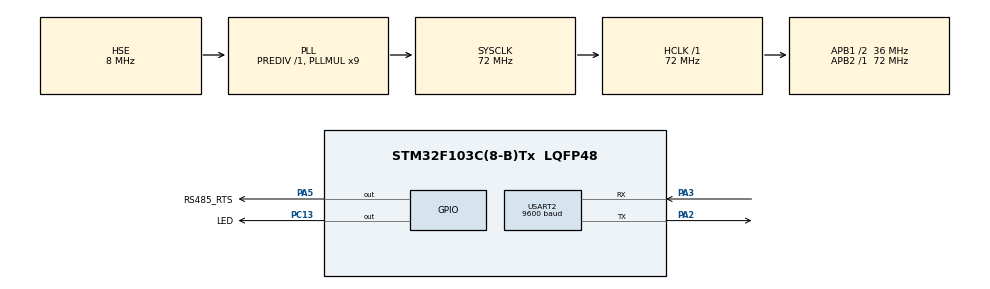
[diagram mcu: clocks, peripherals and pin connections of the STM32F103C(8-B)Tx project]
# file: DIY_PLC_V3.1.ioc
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Mcu.Family=STM32F1
RCC.PLLSourceVirtual=RCC_PLLSOURCE_HSE
PD1-OSC_OUT.Mode=HSE-External-Oscillator
PC13-TAMPER-RTC.Signal=GPIO_Output
PD0-OSC_IN.Signal=RCC_OSC_IN
RCC.APB1CLKDivider=RCC_HCLK_DIV2
NVIC.USART2_IRQn=true\:0\:0\:false\:false\:true\:true\:true
USART2.BaudRate=9600
RCC.SYSCLKSource=RCC_SYSCLKSOURCE_PLLCLK
ProjectManager.StackSize=0x400
PD1-OSC_OUT.Signal=RCC_OSC_OUT
PA13.Signal=SYS_JTMS-SWDIO
PA3.Mode=Asynchronous
ProjectManager.TargetToolchain=STM32CubeIDE
RCC.HCLKFreq_Value=72000000
RCC.APB2TimFreq_Value=72000000
TIM3.Period=49
RCC.USBFreq_Value=72000000
RCC.AHBFreq_Value=72000000
PD0-OSC_IN.Mode=HSE-External-Oscillator
PA5.Signal=GPIO_Output
board=custom
PC13-TAMPER-RTC.GPIO_Label=LED
RCC.PLLMUL=RCC_PLL_MUL9
NVIC.TIM3_IRQn=true\:0\:0\:false\:false\:true\:true\:true
RCC.APB2Freq_Value=72000000
PA14.Mode=Serial_Wire
TIM3.Prescaler=71
PA13.Mode=Serial_Wire
Mcu.Name=STM32F103C(8-B)Tx
PA2.Signal=USART2_TX
RCC.SYSCLKFreq_VALUE=72000000
Mcu.Package=LQFP48
PA5.GPIO_Label=RS485_RTS
USART2.VirtualMode=VM_ASYNC
PA14.Signal=SYS_JTCK-SWCLK
ProjectManager.HeapSize=0x200
NVIC.PriorityGroup=NVIC_PRIORITYGROUP_4
RCC.APB1TimFreq_Value=72000000
PA2.Mode=Asynchronous
RCC.APB1Freq_Value=36000000
VP_TIM3_VS_ClockSourceINT.Mode=Internal
PA3.Signal=USART2_RX

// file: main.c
/* USER CODE BEGIN Header */
/**
 ******************************************************************************
 * @file           : main.c
 * @brief          : Main program body
 ******************************************************************************
 * @attention
 *
 * <h2><center>&copy; Copyright (c) 2023 STMicroelectronics.
 * All rights reserved.</center></h2>
 *
 * This software component is licensed by ST under BSD 3-Clause license,
 * the "License"; You may not use this file except in compliance with the
 * License. You may obtain a copy of the License at:
 *                        opensource.org/licenses/BSD-3-Clause
 *
 ******************************************************************************
 */
/* USER CODE END Header */
#include "main.h"

/* USER CODE BEGIN Includes */
#include <stdint.h>
#include <stdbool.h>
#include <iso646.h>

#include "mb.h" //MODBUS RTU SLAVE
#include "GlobalVar.h"
#include "FbTs.h"
#include "FbBlink.h"
#include "FbFilterA.h"
/* USER CODE END Includes */

/* USER CODE BEGIN PD */
#define SetBit(Var,Bit)   ( Var = Var |  (1 << (Bit)) )
#define ResetBit(Var,Bit) ( Var = Var & ~(1 << (Bit)) )

#define USER_LED_ON() HAL_GPIO_WritePin(GPIOC, GPIO_PIN_13, GPIO_PIN_RESET)
#define USER_LED_OFF() HAL_GPIO_WritePin(GPIOC, GPIO_PIN_13, GPIO_PIN_SET)
//#define USER_BUTTON_STATE() (HAL_GPIO_ReadPin(GPIOA, GPIO_PIN_0) != GPIO_PIN_SET)

#define millis() HAL_GetTick() //Arduino function.
#define Reboot_CPU() HAL_NVIC_SystemReset()

#define MODBUS_RTU_SLAVE_ADDRESS 1
#define MW usSRegHoldBuf //MODBUS HOLDING REGISTERS
/* USER CODE END PD */

TIM_HandleTypeDef htim3;

UART_HandleTypeDef huart2;

/* USER CODE BEGIN PV */
static struct GlobalVar GV = { 0 };
static struct DbTs DbTs1 = { 0 };
extern USHORT usSRegHoldBuf[]; //MODBUS RTU SLAVE HOLDING REGISTERS
static struct DbBlink DbBlink1 = { 0 };
static struct DbFilterA DbFilterA1 = { 0 };
/* USER CODE END PV */

void SystemClock_Config(void);
static void MX_GPIO_Init(void);
static void MX_TIM3_Init(void);
static void MX_USART2_UART_Init(void);

/* USER CODE BEGIN 0 */
void setup(void);
void loop(void);
void FcTaskCyclic(bool Reset, uint32_t Ts_ms);
/* USER CODE END 0 */

int main(void) {

	/* MCU Configuration--------------------------------------------------------*/

	/* Reset of all peripherals, Initializes the Flash interface and the Systick. */
	HAL_Init();

	/* Configure the system clock */
	SystemClock_Config();

	/* Initialize all configured peripherals */
	MX_GPIO_Init();
	MX_TIM3_Init();
	MX_USART2_UART_Init();

	/* Infinite loop */
	/* USER CODE BEGIN WHILE */
	setup();
	while (1) {
		loop();
		/* USER CODE END WHILE */

	}
}

void SystemClock_Config(void) {
	RCC_OscInitTypeDef RCC_OscInitStruct = { 0 };
	RCC_ClkInitTypeDef RCC_ClkInitStruct = { 0 };

	/** Initializes the RCC Oscillators according to the specified parameters
	 * in the RCC_OscInitTypeDef structure.
	 */
	RCC_OscInitStruct.OscillatorType = RCC_OSCILLATORTYPE_HSE;
	RCC_OscInitStruct.HSEState = RCC_HSE_ON;
	RCC_OscInitStruct.HSEPredivValue = RCC_HSE_PREDIV_DIV1;
	RCC_OscInitStruct.HSIState = RCC_HSI_ON;
	RCC_OscInitStruct.PLL.PLLState = RCC_PLL_ON;
	RCC_OscInitStruct.PLL.PLLSource = RCC_PLLSOURCE_HSE;
	RCC_OscInitStruct.PLL.PLLMUL = RCC_PLL_MUL9;
	if (HAL_RCC_OscConfig(&RCC_OscInitStruct) != HAL_OK) {
		Error_Handler();
	}
	/** Initializes the CPU, AHB and APB buses clocks
	 */
	RCC_ClkInitStruct.ClockType = RCC_CLOCKTYPE_HCLK | RCC_CLOCKTYPE_SYSCLK
			| RCC_CLOCKTYPE_PCLK1 | RCC_CLOCKTYPE_PCLK2;
	RCC_ClkInitStruct.SYSCLKSource = RCC_SYSCLKSOURCE_PLLCLK;
	RCC_ClkInitStruct.AHBCLKDivider = RCC_SYSCLK_DIV1;
	RCC_ClkInitStruct.APB1CLKDivider = RCC_HCLK_DIV2;
	RCC_ClkInitStruct.APB2CLKDivider = RCC_HCLK_DIV1;

	if (HAL_RCC_ClockConfig(&RCC_ClkInitStruct, FLASH_LATENCY_2) != HAL_OK) {
		Error_Handler();
	}
}

static void MX_TIM3_Init(void) {

	TIM_ClockConfigTypeDef sClockSourceConfig = { 0 };
	TIM_MasterConfigTypeDef sMasterConfig = { 0 };

	htim3.Instance = TIM3;
	htim3.Init.Prescaler = 71;
	htim3.Init.CounterMode = TIM_COUNTERMODE_UP;
	htim3.Init.Period = 49;
	htim3.Init.ClockDivision = TIM_CLOCKDIVISION_DIV1;
	htim3.Init.AutoReloadPreload = TIM_AUTORELOAD_PRELOAD_DISABLE;
	if (HAL_TIM_Base_Init(&htim3) != HAL_OK) {
		Error_Handler();
	}
	sClockSourceConfig.ClockSource = TIM_CLOCKSOURCE_INTERNAL;
	if (HAL_TIM_ConfigClockSource(&htim3, &sClockSourceConfig) != HAL_OK) {
		Error_Handler();
	}
	sMasterConfig.MasterOutputTrigger = TIM_TRGO_RESET;
	sMasterConfig.MasterSlaveMode = TIM_MASTERSLAVEMODE_DISABLE;
	if (HAL_TIMEx_MasterConfigSynchronization(&htim3, &sMasterConfig)
			!= HAL_OK) {
		Error_Handler();
	}

}

static void MX_USART2_UART_Init(void) {

	huart2.Instance = USART2;
	huart2.Init.BaudRate = 9600;
	huart2.Init.WordLength = UART_WORDLENGTH_8B;
	huart2.Init.StopBits = UART_STOPBITS_1;
	huart2.Init.Parity = UART_PARITY_NONE;
	huart2.Init.Mode = UART_MODE_TX_RX;
	huart2.Init.HwFlowCtl = UART_HWCONTROL_NONE;
	huart2.Init.OverSampling = UART_OVERSAMPLING_16;
	if (HAL_UART_Init(&huart2) != HAL_OK) {
		Error_Handler();
	}

}

static void MX_GPIO_Init(void) {
	GPIO_InitTypeDef GPIO_InitStruct = { 0 };

	/* GPIO Ports Clock Enable */
	__HAL_RCC_GPIOC_CLK_ENABLE();
	__HAL_RCC_GPIOD_CLK_ENABLE();
	__HAL_RCC_GPIOA_CLK_ENABLE();

	/*Configure GPIO pin Output Level */
	HAL_GPIO_WritePin(LED_GPIO_Port, LED_Pin, GPIO_PIN_RESET);

	/*Configure GPIO pin Output Level */
	HAL_GPIO_WritePin(RS485_RTS_GPIO_Port, RS485_RTS_Pin, GPIO_PIN_RESET);

	/*Configure GPIO pin : LED_Pin */
	GPIO_InitStruct.Pin = LED_Pin;
	GPIO_InitStruct.Mode = GPIO_MODE_OUTPUT_PP;
	GPIO_InitStruct.Pull = GPIO_NOPULL;
	GPIO_InitStruct.Speed = GPIO_SPEED_FREQ_LOW;
	HAL_GPIO_Init(LED_GPIO_Port, &GPIO_InitStruct);

	/*Configure GPIO pin : RS485_RTS_Pin */
	GPIO_InitStruct.Pin = RS485_RTS_Pin;
	GPIO_InitStruct.Mode = GPIO_MODE_OUTPUT_PP;
	GPIO_InitStruct.Pull = GPIO_NOPULL;
	GPIO_InitStruct.Speed = GPIO_SPEED_FREQ_LOW;
	HAL_GPIO_Init(RS485_RTS_GPIO_Port, &GPIO_InitStruct);

}

/* USER CODE BEGIN 4 */
void setup(void) //Arduino function.
{

	eMBInit(MB_RTU, MODBUS_RTU_SLAVE_ADDRESS, &huart2,
			(ULONG) huart2.Init.BaudRate, &htim3); //MODBUS RTU SLAVE
	eMBEnable(); //MODBUS RTU SLAVE

	GV.Reset = true;
	//Расчет времени скана.
	//             DbTs
	//    +---------------------+
	//    |        FbTs         |
	//   -|millis          Ts_ms|->-
	//   -|Reset              Ts|->-
	//    |            Ts_ms_max|->-
	//    |             Uptime_s|->-
	//    +---------------------+
	DbTs1.millis = millis(); //millis() Arduino.
	DbTs1.Reset = GV.Reset; //Сброс при перезагрузке.
	FbTs(&DbTs1); //Расчет времени скана.
	GV.Ts_ms = DbTs1.Ts_ms; //Шаг дискретизации по времени [мс].
	GV.Ts = DbTs1.Ts; //Шаг дискретизации по времени [с].
	GV.Ts_ms_max = DbTs1.Ts_ms_max; //Максимальное время скана [мс].
	GV.Uptime_s = DbTs1.Uptime_s; //Время в работе [мс].

	FcTaskCyclic(GV.Reset, GV.Ts_ms); //PLC Task 1
	return;
}

void loop(void) //Arduino function.
{

	eMBErrorCode retu;
	retu = eMBPoll(); //MODBUS RTU SLAVE
	if (retu == MB_ENOERR) {
		;
	} // IF OK

	GV.Reset = false;
	//Расчет времени скана.
	//             DbTs
	//    +---------------------+
	//    |        FbTs         |
	//   -|millis          Ts_ms|->-
	//   -|Reset              Ts|->-
	//    |            Ts_ms_max|->-
	//    |             Uptime_s|->-
	//    +---------------------+
	DbTs1.millis = millis();	//millis() Arduino.
	DbTs1.Reset = GV.Reset;	//Сброс при перезагрузке.
	FbTs(&DbTs1);	//Расчет времени скана.
	GV.Ts_ms = DbTs1.Ts_ms;	//Шаг дискретизации по времени [мс].
	GV.Ts = DbTs1.Ts;	//Шаг дискретизации по времени [с].
	GV.Ts_ms_max = DbTs1.Ts_ms_max;	//Максимальное время скана [мс].
	GV.Uptime_s = DbTs1.Uptime_s;	//Время в работе [мс].

	//PLC Cyclic Task1
	FcTaskCyclic(GV.Reset, GV.Ts_ms);	//PLC Task 1

	//PLC digital output
	if (GV.Do1) {
		USER_LED_ON();
	} else {
		USER_LED_OFF();
	}

	return;
}

void FcTaskCyclic(bool Reset, uint32_t Ts_ms) //PLC ST style logic.
{

	//Время работы мс.
	MW[0] = 0x7fff bitand millis(); //0x7fff ограничение до 2**15-1

	//Время скана мс.
	MW[1] = 0x7fff bitand GV.Ts_ms; //0x7fff ограничение до 2**15-1

	//Максимальное время скана мс.
	MW[2] = 0x7fff bitand GV.Ts_ms_max; //0x7fff ограничение до 2**15-1

	//Blink
	MW[3] = GV.Do1;

	//Тест на сложение.
	if (Reset) {
		MW[4] = -2;
		MW[5] = 6;
	}
	MW[6] = MW[4] + MW[5];

	//Пример работы с дискретными алгоритмами.
	//Мигалка.
	//            DbBlink
	//    +---------------------+
	//    |       FbBlink       |
	//   -|Time_on_ms        Out|->-
	//   -|Time_off_ms          |
	//   -|Ts_ms                |
	//   -|Reset                |
	//    +---------------------+
	DbBlink1.Time_on_ms = 500;	//Время импульса [мс].
	DbBlink1.Time_off_ms = 500;	//Время паузы [мс].
	DbBlink1.Ts_ms = Ts_ms;	//Шаг дискретизации по времени [мс].
	DbBlink1.Reset = Reset;	//Сброс при перезагрузке.
	FbBlink(&DbBlink1);	//Мигалка.
	GV.Do1 = DbBlink1.Out;	//Мигающая лампочка.

	//Пример работы с аналоговыми алгоритмами.
	//Фильтр апериодический.
	//      DbFilterA
	//    +-----------+
	//    | FbFilterA |
	// ->-|In      Out|->-
	//   -|Tf         |
	//   -|Ts         |
	//    +-----------+
	DbFilterA1.In = (float) DbBlink1.Out;	//Входной сигнал до фильтрации.
	DbFilterA1.Tf = 0.15;	//Постоянная времени фильтра [с].
	DbFilterA1.Ts = GV.Ts;	//Шаг дискретизации по времени [с].
	FbFilterA(&DbFilterA1);	//Фильтр апериодический.
	//            = DbFilterA1.Out; //Выходной сигнал после фильтрации.

	return;
}
/* USER CODE END 4 */

void Error_Handler(void) {
	__disable_irq();
	while (1) {
	}
}

/************************ (C) COPYRIGHT STMicroelectronics *****END OF FILE****/
